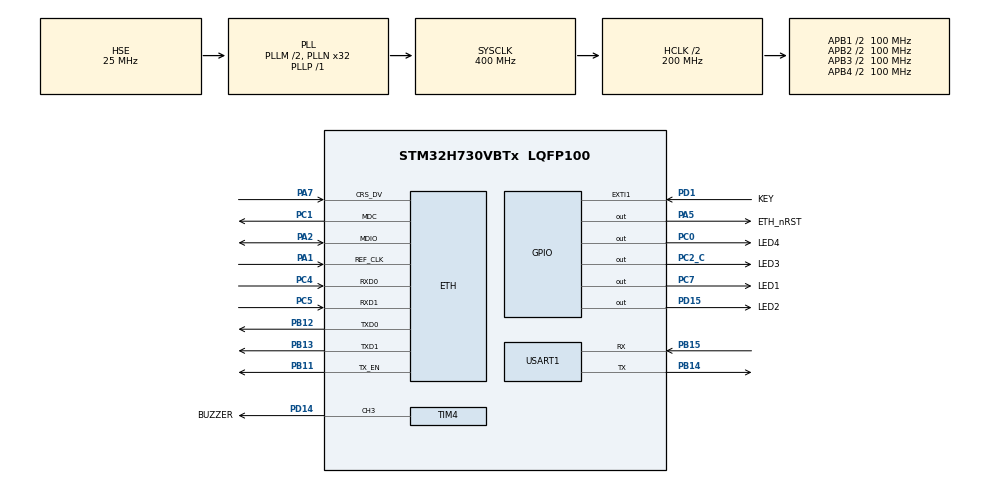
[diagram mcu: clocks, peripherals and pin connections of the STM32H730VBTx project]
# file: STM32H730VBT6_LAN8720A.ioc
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CORTEX_M7.AccessPermission_S-Cortex_Memory_Protection_Unit_Region1_Settings_S=MPU_REGION_FULL_ACCESS
CORTEX_M7.AccessPermission_S-Cortex_Memory_Protection_Unit_Region2_Settings_S=MPU_REGION_FULL_ACCESS
CORTEX_M7.BaseAddress_S-Cortex_Memory_Protection_Unit_Region1_Settings_S=0x30000000
CORTEX_M7.BaseAddress_S-Cortex_Memory_Protection_Unit_Region2_Settings_S=0x30000000
CORTEX_M7.BaseAddress_Spec=0x0
CORTEX_M7.CPU_DCache=Enabled
CORTEX_M7.CPU_ICache=Enabled
CORTEX_M7.DisableExec_S-Cortex_Memory_Protection_Unit_Region1_Settings_S=MPU_INSTRUCTION_ACCESS_DISABLE
CORTEX_M7.DisableExec_S-Cortex_Memory_Protection_Unit_Region2_Settings_S=MPU_INSTRUCTION_ACCESS_DISABLE
CORTEX_M7.DisableExec_Spec=MPU_INSTRUCTION_ACCESS_DISABLE
CORTEX_M7.Enable_S-Cortex_Memory_Protection_Unit_Region1_Settings_S=MPU_REGION_ENABLE
CORTEX_M7.Enable_S-Cortex_Memory_Protection_Unit_Region2_Settings_S=MPU_REGION_ENABLE
CORTEX_M7.IsBufferable_S-Cortex_Memory_Protection_Unit_Region1_Settings_S=MPU_ACCESS_NOT_BUFFERABLE
CORTEX_M7.IsBufferable_S-Cortex_Memory_Protection_Unit_Region2_Settings_S=MPU_ACCESS_BUFFERABLE
CORTEX_M7.IsBufferable_Spec=MPU_ACCESS_NOT_BUFFERABLE
CORTEX_M7.IsCacheable_S-Cortex_Memory_Protection_Unit_Region1_Settings_S=MPU_ACCESS_NOT_CACHEABLE
CORTEX_M7.IsShareable_S-Cortex_Memory_Protection_Unit_Region1_Settings_S=MPU_ACCESS_NOT_SHAREABLE
CORTEX_M7.IsShareable_S-Cortex_Memory_Protection_Unit_Region2_Settings_S=MPU_ACCESS_SHAREABLE
CORTEX_M7.IsShareable_Spec=MPU_ACCESS_SHAREABLE
CORTEX_M7.Size_S-Cortex_Memory_Protection_Unit_Region1_Settings_S=MPU_REGION_SIZE_32KB
CORTEX_M7.Size_S-Cortex_Memory_Protection_Unit_Region2_Settings_S=MPU_REGION_SIZE_512B
CORTEX_M7.Size_Spec=MPU_REGION_SIZE_4GB
CORTEX_M7.SubRegionDisable_Spec=0x87
CORTEX_M7.TypeExtField_S-Cortex_Memory_Protection_Unit_Region1_Settings_S=MPU_TEX_LEVEL1
CORTEX_M7.TypeExtField_Spec=MPU_TEX_LEVEL0
CORTEX_M7.default_mode_Activation=1
ETH.MediaInterface=HAL_ETH_RMII_MODE
ETH.RxDescAddress=0x30000000
ETH.TxDescAddress=0x30000200
LWIP.API_LIB_DEBUG=LWIP_DBG_ON
LWIP.API_MSG_DEBUG=LWIP_DBG_ON
LWIP.AUTOIP_DEBUG=LWIP_DBG_ON
LWIP.BSP.number=1
LWIP.CHECKSUM_CHECK_IP=1
LWIP.CHECKSUM_CHECK_UDP=1
LWIP.CHECKSUM_GEN_IP=1
LWIP.CHECKSUM_GEN_UDP=1
LWIP.DEFAULT_THREAD_STACKSIZE=2048
LWIP.DNS_DEBUG=LWIP_DBG_ON
LWIP.ETHARP_DEBUG=LWIP_DBG_ON
LWIP.GATEWAY_ADDRESS=010.031.114.001
LWIP.ICMP_DEBUG=LWIP_DBG_ON
LWIP.IGMP_DEBUG=LWIP_DBG_ON
LWIP.INET_DEBUG=LWIP_DBG_ON
LWIP.IP_ADDRESS=010.031.114.114
LWIP.IP_DEBUG=LWIP_DBG_ON
LWIP.IP_REASS_DEBUG=LWIP_DBG_ON
LWIP.LWIP_DBG_MIN_LEVEL=LWIP_DBG_LEVEL_ALL
LWIP.LWIP_DHCP=0
LWIP.LWIP_MPU_COMPATIBLE=1
LWIP.LWIP_PERF=1
LWIP.LWIP_RAM_HEAP_POINTER=0x30000200
LWIP.LWIP_STATS=1
LWIP.LWIP_TCP=0
LWIP.MEMP_DEBUG=LWIP_DBG_ON
LWIP.MEM_DEBUG=LWIP_DBG_ON
LWIP.MEM_SIZE=32232
LWIP.NETIF_DEBUG=LWIP_DBG_ON
LWIP.NETMASK_ADDRESS=255.255.255.000
LWIP.PBUF_DEBUG=LWIP_DBG_ON
LWIP.RAW_DEBUG=LWIP_DBG_ON
LWIP.SOCKETS_DEBUG=LWIP_DBG_ON
LWIP.SYS_DEBUG=LWIP_DBG_ON
LWIP.TCPIP_DEBUG=LWIP_DBG_ON
LWIP.TCPIP_THREAD_STACKSIZE=2048
LWIP.TCP_MSS=1460
LWIP.TCP_SND_BUF=5840
LWIP.TCP_SND_QUEUELEN=16
LWIP.TCP_WND=5840
LWIP.TIMERS_DEBUG=LWIP_DBG_ON
LWIP.UDP_DEBUG=LWIP_DBG_ON
LWIP.Version=v2.1.2_Cube
LWIP0.BSP.STBoard=false
LWIP0.BSP.api=BSP_COMPONENT_DRIVER
LWIP0.BSP.component=LAN8742
LWIP0.BSP.instance=LAN8742
LWIP0.BSP.name=Driver_PHY
LWIP0.BSP.semaphore=S_LAN8742
LWIP0.BSP.solution=LAN8742
Mcu.Family=STM32H7
Mcu.Name=STM32H730VBTx
Mcu.Package=LQFP100
NVIC.EXTI1_IRQn=true\:0\:0\:false\:false\:true\:true\:true\:true
NVIC.PriorityGroup=NVIC_PRIORITYGROUP_4
NVIC.TIM6_DAC_IRQn=true\:15\:0\:false\:false\:true\:false\:true\:true
NVIC.TimeBase=TIM6_DAC_IRQn
NVIC.TimeBaseIP=TIM6
PA1.GPIO_Mode=GPIO_MODE_AF_PP
PA1.GPIO_PuPd=GPIO_NOPULL
PA1.GPIO_Speed=GPIO_SPEED_FREQ_LOW
PA1.Mode=RMII
PA1.Signal=ETH_REF_CLK
PA13(JTMS/SWDIO).Mode=Serial_Wire
PA13(JTMS/SWDIO).Signal=DEBUG_JTMS-SWDIO
PA14(JTCK/SWCLK).Mode=Serial_Wire
PA14(JTCK/SWCLK).Signal=DEBUG_JTCK-SWCLK
PA2.GPIO_Mode=GPIO_MODE_AF_PP
PA2.GPIO_PuPd=GPIO_NOPULL
PA2.GPIO_Speed=GPIO_SPEED_FREQ_LOW
PA2.Mode=RMII
PA2.Signal=ETH_MDIO
PA5.GPIO_Label=ETH_nRST
PA5.Signal=GPIO_Output
PA7.GPIO_Mode=GPIO_MODE_AF_PP
PA7.GPIO_PuPd=GPIO_NOPULL
PA7.GPIO_Speed=GPIO_SPEED_FREQ_LOW
PA7.Mode=RMII
PA7.Signal=ETH_CRS_DV
PB11.GPIO_Mode=GPIO_MODE_AF_PP
PB11.GPIO_PuPd=GPIO_NOPULL
PB11.GPIO_Speed=GPIO_SPEED_FREQ_LOW
PB11.Mode=RMII
PB11.Signal=ETH_TX_EN
PB12.GPIO_Mode=GPIO_MODE_AF_PP
PB12.GPIO_PuPd=GPIO_NOPULL
PB12.GPIO_Speed=GPIO_SPEED_FREQ_LOW
PB12.Mode=RMII
PB12.Signal=ETH_TXD0
PB13.GPIO_Mode=GPIO_MODE_AF_PP
PB13.GPIO_PuPd=GPIO_NOPULL
PB13.GPIO_Speed=GPIO_SPEED_FREQ_LOW
PB13.Mode=RMII
PB13.Signal=ETH_TXD1
PB14.Mode=Asynchronous
PB14.Signal=USART1_TX
PB15.Mode=Asynchronous
PB15.Signal=USART1_RX
PC0.GPIO_Label=LED4
PC0.Signal=GPIO_Output
PC1.GPIO_Mode=GPIO_MODE_AF_PP
PC1.GPIO_PuPd=GPIO_NOPULL
PC1.GPIO_Speed=GPIO_SPEED_FREQ_LOW
PC1.Mode=RMII
PC1.Signal=ETH_MDC
PC14-OSC32_IN.Mode=LSE-External-Oscillator
PC14-OSC32_IN.Signal=RCC_OSC32_IN
PC15-OSC32_OUT.Mode=LSE-External-Oscillator
PC15-OSC32_OUT.Signal=RCC_OSC32_OUT
PC2_C.GPIO_Label=LED3
PC2_C.Signal=GPIO_Output
PC4.GPIO_Mode=GPIO_MODE_AF_PP
PC4.GPIO_PuPd=GPIO_NOPULL
PC4.GPIO_Speed=GPIO_SPEED_FREQ_LOW
PC4.Mode=RMII
PC4.Signal=ETH_RXD0
PC5.GPIO_Mode=GPIO_MODE_AF_PP
PC5.GPIO_PuPd=GPIO_NOPULL
PC5.GPIO_Speed=GPIO_SPEED_FREQ_LOW
PC5.Mode=RMII
PC5.Signal=ETH_RXD1
PC7.GPIO_Label=LED1
PC7.Signal=GPIO_Output
PD1.GPIO_Label=KEY
PD1.GPIO_ModeDefaultEXTI=GPIO_MODE_IT_FALLING
PD1.Signal=GPXTI1
PD14.GPIO_Label=BUZZER
PD14.Signal=S_TIM4_CH3
PD15.GPIO_Label=LED2
PD15.Signal=GPIO_Output
PH0-OSC_IN.Mode=HSE-External-Oscillator
PH0-OSC_IN.Signal=RCC_OSC_IN
PH1-OSC_OUT.Mode=HSE-External-Oscillator
PH1-OSC_OUT.Signal=RCC_OSC_OUT
ProjectManager.HeapSize=0x4000
ProjectManager.StackSize=0x4000
ProjectManager.TargetToolchain=STM32CubeIDE
RCC.ADCFreq_Value=50390625
RCC.APB1Freq_Value=100000000
RCC.APB2Freq_Value=100000000
RCC.APB3Freq_Value=100000000
RCC.APB4Freq_Value=100000000
RCC.CortexFreq_Value=400000000
RCC.D1PPRE=RCC_APB3_DIV2
RCC.D2PPRE1=RCC_APB1_DIV2
RCC.D2PPRE2=RCC_APB2_DIV2
RCC.D3PPRE=RCC_APB4_DIV2
RCC.DIVM1=2
RCC.DIVN1=32
RCC.DIVP1=1
RCC.HCLKFreq_Value=200000000
RCC.HPRE=RCC_HCLK_DIV2
RCC.PLL2FRACN=0
RCC.PLL3FRACN=0
RCC.PLLFRACN=0
RCC.PLLSourceVirtual=RCC_PLLSOURCE_HSE
RCC.SYSCLKFreq_VALUE=400000000
RCC.SYSCLKSource=RCC_SYSCLKSOURCE_PLLCLK
RCC.USBFreq_Value=200000000
SH.S_TIM4_CH3.0=TIM4_CH3,PWM Generation3 CH3
TIM4.AutoReloadPreload=TIM_AUTORELOAD_PRELOAD_ENABLE
TIM4.Channel-PWM\ Generation3\ CH3=TIM_CHANNEL_3
TIM4.OCFastMode_PWM-PWM\ Generation3\ CH3=TIM_OCFAST_ENABLE
TIM4.Period=10999
TIM4.Prescaler=49
USART1.VirtualMode-Asynchronous=VM_ASYNC
VP_LWIP_VS_Enabled.Mode=Enabled
VP_SYS_VS_tim6.Mode=TIM6
board=custom

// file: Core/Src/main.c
/* USER CODE BEGIN Header */
/**
 ******************************************************************************
 * @file           : main.c
 * @brief          : Main program body
 ******************************************************************************
 * @attention
 *
 * Copyright (c) 2024 STMicroelectronics.
 * All rights reserved.
 *
 * This software is licensed under terms that can be found in the LICENSE file
 * in the root directory of this software component.
 * If no LICENSE file comes with this software, it is provided AS-IS.
 *
 ******************************************************************************
 */
/* USER CODE END Header */
#include "main.h"
#include "lwip.h"
#include "tim.h"
#include "usart.h"
#include "gpio.h"

/* USER CODE BEGIN Includes */
#include "BUZZER.h"
#include "SEGGER_RTT.h"
#include "SEGGER_RTT_Conf.h"
#include "RTT_LOG.h"
#include <stdio.h>
#include <udp.h>
/* USER CODE END Includes */

/* USER CODE BEGIN PTD */
#define UDP_SERVER_PORT    7
#define UDP_CLIENT_PORT    7
void udp_echoserver_receive_callback(void *arg, struct udp_pcb *upcb, struct pbuf *p, const ip_addr_t *addr, u16_t port);
void udp_echoserver_init(void);
/* USER CODE END PTD */

/* USER CODE BEGIN PV */
int fputc(int ch, FILE *f) {
    // 使用 LOGERROR 输出字符
    RTTLOG("%c", ch);
    return ch;  // 返回字符
}
ssize_t _write(int fd, const void *buf, size_t count) {
    char *str = (char *) buf;
    for (size_t i = 0; i < count; i++) {
        fputc(str[i], NULL);  // 调用你自定义�?? fputc
    }
    return count;
}
/* USER CODE END PV */

void SystemClock_Config(void);
static void MPU_Config(void);

/* USER CODE BEGIN 0 */
// int fputc(int ch, FILE *f)
// {
//     SEGGER_RTT_Write(0, (const void *)&ch, 1);  // 0 表示 RTT 通道的索�???
//     return ch;  // 返回字符
// }
/* USER CODE END 0 */

int main(void)
{

  /* USER CODE BEGIN 1 */

    SEGGER_RTT_Init();
    LOGERROR("Start.\n");
  /* USER CODE END 1 */

  /* MPU Configuration--------------------------------------------------------*/
  MPU_Config();

  /* Enable the CPU Cache */

  /* Enable I-Cache---------------------------------------------------------*/
  SCB_EnableICache();

  /* Enable D-Cache---------------------------------------------------------*/
  SCB_EnableDCache();

  /* MCU Configuration--------------------------------------------------------*/

  /* Reset of all peripherals, Initializes the Flash interface and the Systick. */
  HAL_Init();

  /* USER CODE BEGIN Init */
    // HAL_GPIO_WritePin(ETH_nRST_GPIO_Port, ETH_nRST_Pin, GPIO_PIN_RESET);
    // HAL_Delay(100);
    // HAL_GPIO_WritePin(ETH_nRST_GPIO_Port, ETH_nRST_Pin, GPIO_PIN_SET);
    // HAL_Delay(100);
  /* USER CODE END Init */

  /* Configure the system clock */
  SystemClock_Config();

  /* Initialize all configured peripherals */
  MX_GPIO_Init();
  MX_TIM4_Init();
  MX_USART1_UART_Init();
  MX_LWIP_Init();
  /* USER CODE BEGIN 2 */
    udp_echoserver_init();

    BUZZER_0N(400);
    HAL_Delay(100);
    BUZZER_Stop();
    HAL_Delay(100);
    BUZZER_0N(500);
    HAL_Delay(100);
    BUZZER_Stop();
    BUZZER_0N(700);
    HAL_Delay(114);
    BUZZER_Stop();
    LOGERROR("Init successful.\n");
  /* USER CODE END 2 */

  /* Infinite loop */
  /* USER CODE BEGIN WHILE */
    while (1) {
        MX_LWIP_Process();
        // HAL_UART_Transmit(&huart1, "hello world!\r\n", 14, 100);

    /* USER CODE END WHILE */

    }
}

void SystemClock_Config(void)
{
  RCC_OscInitTypeDef RCC_OscInitStruct = {0};
  RCC_ClkInitTypeDef RCC_ClkInitStruct = {0};

  /** Supply configuration update enable
  */
  HAL_PWREx_ConfigSupply(PWR_LDO_SUPPLY);

  /** Configure the main internal regulator output voltage
  */
  __HAL_PWR_VOLTAGESCALING_CONFIG(PWR_REGULATOR_VOLTAGE_SCALE1);

  while(!__HAL_PWR_GET_FLAG(PWR_FLAG_VOSRDY)) {}

  /** Initializes the RCC Oscillators according to the specified parameters
  * in the RCC_OscInitTypeDef structure.
  */
  RCC_OscInitStruct.OscillatorType = RCC_OSCILLATORTYPE_HSE;
  RCC_OscInitStruct.HSEState = RCC_HSE_ON;
  RCC_OscInitStruct.PLL.PLLState = RCC_PLL_ON;
  RCC_OscInitStruct.PLL.PLLSource = RCC_PLLSOURCE_HSE;
  RCC_OscInitStruct.PLL.PLLM = 2;
  RCC_OscInitStruct.PLL.PLLN = 32;
  RCC_OscInitStruct.PLL.PLLP = 1;
  RCC_OscInitStruct.PLL.PLLQ = 2;
  RCC_OscInitStruct.PLL.PLLR = 2;
  RCC_OscInitStruct.PLL.PLLRGE = RCC_PLL1VCIRANGE_3;
  RCC_OscInitStruct.PLL.PLLVCOSEL = RCC_PLL1VCOWIDE;
  RCC_OscInitStruct.PLL.PLLFRACN = 0;
  if (HAL_RCC_OscConfig(&RCC_OscInitStruct) != HAL_OK)
  {
    Error_Handler();
  }

  /** Initializes the CPU, AHB and APB buses clocks
  */
  RCC_ClkInitStruct.ClockType = RCC_CLOCKTYPE_HCLK|RCC_CLOCKTYPE_SYSCLK
                              |RCC_CLOCKTYPE_PCLK1|RCC_CLOCKTYPE_PCLK2
                              |RCC_CLOCKTYPE_D3PCLK1|RCC_CLOCKTYPE_D1PCLK1;
  RCC_ClkInitStruct.SYSCLKSource = RCC_SYSCLKSOURCE_PLLCLK;
  RCC_ClkInitStruct.SYSCLKDivider = RCC_SYSCLK_DIV1;
  RCC_ClkInitStruct.AHBCLKDivider = RCC_HCLK_DIV2;
  RCC_ClkInitStruct.APB3CLKDivider = RCC_APB3_DIV2;
  RCC_ClkInitStruct.APB1CLKDivider = RCC_APB1_DIV2;
  RCC_ClkInitStruct.APB2CLKDivider = RCC_APB2_DIV2;
  RCC_ClkInitStruct.APB4CLKDivider = RCC_APB4_DIV2;

  if (HAL_RCC_ClockConfig(&RCC_ClkInitStruct, FLASH_LATENCY_2) != HAL_OK)
  {
    Error_Handler();
  }
}

/* USER CODE BEGIN 4 */
/**
  * @brief  Initialize the server application.
  * @param  None
  * @retval None
  */
void udp_echoserver_init(void)
{
   struct udp_pcb *upcb;
   err_t err;

   /* Create a new UDP control block  */
   upcb = udp_new();

   if (upcb)
   {
     /* Bind the upcb to the UDP_PORT port */
     /* Using IP_ADDR_ANY allow the upcb to be used by any local interface */
      err = udp_bind(upcb, IP_ADDR_ANY, UDP_SERVER_PORT);

      if(err == ERR_OK)
      {
        /* Set a receive callback for the upcb */
        udp_recv(upcb, udp_echoserver_receive_callback, NULL);
      }
      else
      {
        udp_remove(upcb);
      }
   }
}

/**
  * @brief This function is called when an UDP datagrm has been received on the port UDP_PORT.
  * @param arg user supplied argument (udp_pcb.recv_arg)
  * @param pcb the udp_pcb which received data
  * @param p the packet buffer that was received
  * @param addr the remote IP address from which the packet was received
  * @param port the remote port from which the packet was received
  * @retval None
  */
void udp_echoserver_receive_callback(void *arg, struct udp_pcb *upcb, struct pbuf *p, const ip_addr_t *addr, u16_t port)
{
  struct pbuf *p_tx;

  /* allocate pbuf from RAM*/
  p_tx = pbuf_alloc(PBUF_TRANSPORT,p->len, PBUF_RAM);

  if(p_tx != NULL)
  {
    pbuf_take(p_tx, (char*)p->payload, p->len);
    /* Connect to the remote client */
    udp_connect(upcb, addr, UDP_CLIENT_PORT);

    /* Tell the client that we have accepted it */
    udp_send(upcb, p_tx);

    /* free the UDP connection, so we can accept new clients */
    udp_disconnect(upcb);

    /* Free the p_tx buffer */
    pbuf_free(p_tx);

    /* Free the p buffer */
    pbuf_free(p);
  }
}

/* USER CODE END 4 */

 /* MPU Configuration */

void MPU_Config(void)
{
  MPU_Region_InitTypeDef MPU_InitStruct = {0};

  /* Disables the MPU */
  HAL_MPU_Disable();

  /** Initializes and configures the Region and the memory to be protected
  */
  MPU_InitStruct.Enable = MPU_REGION_ENABLE;
  MPU_InitStruct.Number = MPU_REGION_NUMBER0;
  MPU_InitStruct.BaseAddress = 0x0;
  MPU_InitStruct.Size = MPU_REGION_SIZE_4GB;
  MPU_InitStruct.SubRegionDisable = 0x87;
  MPU_InitStruct.TypeExtField = MPU_TEX_LEVEL0;
  MPU_InitStruct.AccessPermission = MPU_REGION_NO_ACCESS;
  MPU_InitStruct.DisableExec = MPU_INSTRUCTION_ACCESS_DISABLE;
  MPU_InitStruct.IsShareable = MPU_ACCESS_SHAREABLE;
  MPU_InitStruct.IsCacheable = MPU_ACCESS_NOT_CACHEABLE;
  MPU_InitStruct.IsBufferable = MPU_ACCESS_NOT_BUFFERABLE;

  HAL_MPU_ConfigRegion(&MPU_InitStruct);

  /** Initializes and configures the Region and the memory to be protected
  */
  MPU_InitStruct.Number = MPU_REGION_NUMBER1;
  MPU_InitStruct.BaseAddress = 0x30000000;
  MPU_InitStruct.Size = MPU_REGION_SIZE_32KB;
  MPU_InitStruct.SubRegionDisable = 0x0;
  MPU_InitStruct.TypeExtField = MPU_TEX_LEVEL1;
  MPU_InitStruct.AccessPermission = MPU_REGION_FULL_ACCESS;
  MPU_InitStruct.IsShareable = MPU_ACCESS_NOT_SHAREABLE;

  HAL_MPU_ConfigRegion(&MPU_InitStruct);

  /** Initializes and configures the Region and the memory to be protected
  */
  MPU_InitStruct.Number = MPU_REGION_NUMBER2;
  MPU_InitStruct.Size = MPU_REGION_SIZE_512B;
  MPU_InitStruct.TypeExtField = MPU_TEX_LEVEL0;
  MPU_InitStruct.IsShareable = MPU_ACCESS_SHAREABLE;
  MPU_InitStruct.IsBufferable = MPU_ACCESS_BUFFERABLE;

  HAL_MPU_ConfigRegion(&MPU_InitStruct);
  /* Enables the MPU */
  HAL_MPU_Enable(MPU_PRIVILEGED_DEFAULT);

}

void HAL_TIM_PeriodElapsedCallback(TIM_HandleTypeDef *htim)
{
  if (htim->Instance == TIM6) {
    HAL_IncTick();
  }
}

void Error_Handler(void)
{
    __disable_irq();
    while (1) {
    }
}
